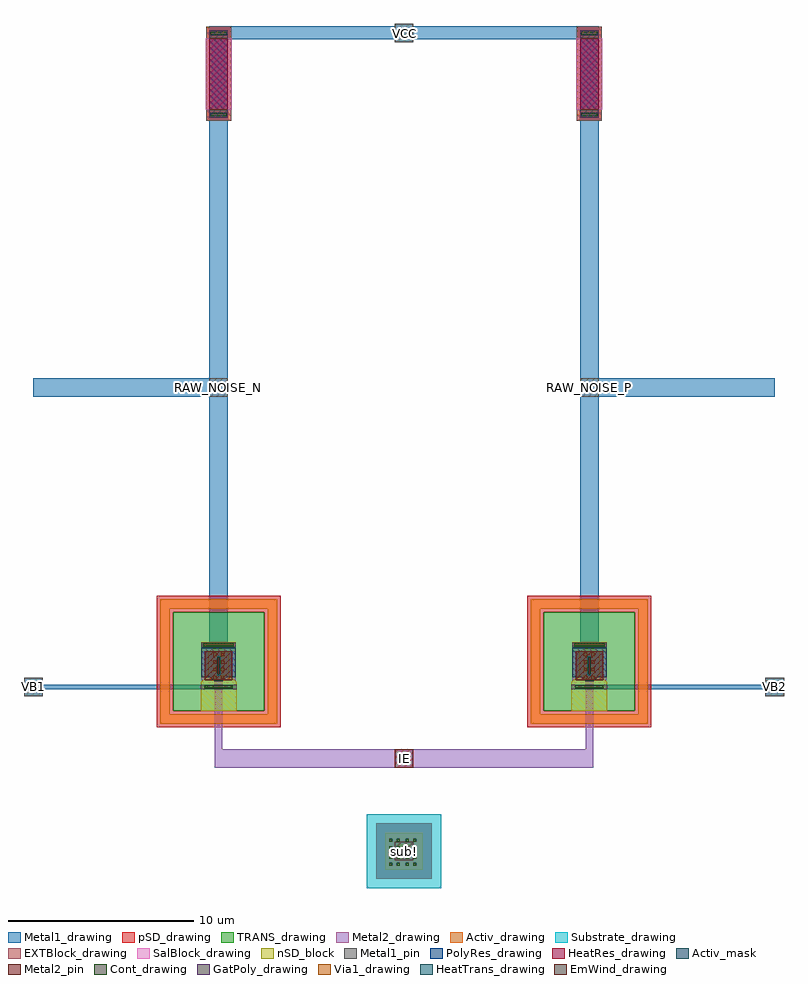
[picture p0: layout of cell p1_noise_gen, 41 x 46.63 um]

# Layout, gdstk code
import gdstk
lib = gdstk.Library(unit=1e-6, precision=1e-09)
def R(c, l, rs):  # rectangles x0, y0, x1, y1
    for r in rs: c.add(gdstk.rectangle(r[:2], r[2:], *l))
def A(c, l, x, y, w, h, nx, ny, dx, dy):  # array of equal rectangles
    R(c, l, [(x+i*dx, y+j*dy, x+i*dx+w, y+j*dy+h) for i in range(nx) for j in range(ny)])
def P(c, l, *ps):  # polygons
    for p in ps: c.add(gdstk.Polygon(p, *l))
Activ_drawing = (1, 0)
Activ_mask = (1, 20)
GatPoly_drawing = (5, 0)
Cont_drawing = (6, 0)
nSD_block = (7, 21)
Metal1_drawing = (8, 0)
Metal1_pin = (8, 2)
Metal2_drawing = (10, 0)
Metal2_pin = (10, 2)
pSD_drawing = (14, 0)
Via1_drawing = (19, 0)
TRANS_drawing = (26, 0)
SalBlock_drawing = (28, 0)
EmWind_drawing = (33, 0)
Substrate_drawing = (40, 0)
HeatTrans_drawing = (51, 0)
HeatRes_drawing = (52, 0)
EXTBlock_drawing = (111, 0)
PolyRes_drawing = (128, 0)

npn13g2 = lib.new_cell('npn13G2')
R(npn13g2, Activ_drawing, [(-0.925,0.98,0.925,1.28)])
P(npn13g2, Activ_drawing, [(-3.15,-3.13),(-3.15,3.58),(2.65,3.58),(2.65,3.08),(-2.65,3.08),(-2.65,-2.63),(2.65,-2.63),(2.65,3.58),(3.15,3.58),(3.15,-3.13)])
P(npn13g2, Activ_mask, [(-0.235,-0.83),(-0.445,-0.62),(-0.925,-0.62),(-0.925,0.98),(0.925,0.98),(0.925,-0.62),(0.445,-0.62),(0.235,-0.83)])
R(npn13g2, Cont_drawing, [(-0.76,-1.22,0.76,-1.06), (-0.825,1.05,0.825,1.21)])
P(npn13g2, nSD_block, [(-0.975,-2.43),(-0.975,-0.9),(-0.555,-0.48),(-0.555,0.69),(-0.305,0.94),(0.305,0.94),(0.555,0.69),(0.555,-0.48),(0.975,-0.9),(0.975,-2.43)])
R(npn13g2, Metal1_drawing, [(-0.975,-1.26,0.975,-1.02), (-0.35,-0.785,0.35,0.77), (-0.925,1.01,0.925,1.25)])
R(npn13g2, Metal1_pin, [(-0.975,-1.26,0.975,-1.02), (-0.925,1.01,0.925,1.25)])
R(npn13g2, Metal2_drawing, [(-0.925,-0.785,0.925,0.77)])
R(npn13g2, Metal2_pin, [(-0.745,-0.785,0.745,0.77)])
P(npn13g2, pSD_drawing, [(-3.35,-3.33),(-3.35,3.78),(2.45,3.78),(2.45,2.88),(-2.45,2.88),(-2.45,-2.43),(2.45,-2.43),(2.45,3.78),(3.35,3.78),(3.35,-3.33)])
A(npn13g2, Via1_drawing, -0.3, -0.72, 0.19, 0.19, 1, 4, 0, 0.41)
A(npn13g2, Via1_drawing, 0.11, -0.72, 0.19, 0.19, 1, 4, 0, 0.41)
R(npn13g2, TRANS_drawing, [(-2.45,-2.43,2.45,2.88)])
R(npn13g2, EmWind_drawing, [(-0.035,-0.45,0.035,0.45)])
R(npn13g2, HeatTrans_drawing, [(-0.085,-0.5,0.085,0.5)])
npn13g2.add(gdstk.Label('npn13G2', (0,0), layer=51, texttype=0))
npn13g2.add(gdstk.Label('npn13G2', (0.015,2.31), layer=63, texttype=0))
npn13g2.add(gdstk.Label('C', (0,1.13), layer=63, texttype=0))
npn13g2.add(gdstk.Label('B', (0,-1.14), layer=63, texttype=0))
npn13g2.add(gdstk.Label('E', (0,-0.007), layer=63, texttype=0))
npn13g2.add(gdstk.Label('Ae=1*1*0.07*0.90', (-1.977,-2.546), layer=63, texttype=0))

rppd = lib.new_cell('rppd')
R(rppd, GatPoly_drawing, [(0,-0.43,1,-0.2), (0,-0.2,1,0), (0,3.85,1,4.05), (0,4.05,1,4.28)])
R(rppd, Cont_drawing, [(0.07,-0.36,0.93,-0.2), (0.07,4.05,0.93,4.21)])
R(rppd, Metal1_drawing, [(0.02,-0.43,0.98,-0.13), (0.02,3.98,0.98,4.28)])
R(rppd, Metal1_pin, [(0.02,-0.43,0.98,-0.13), (0.02,3.98,0.98,4.28)])
R(rppd, pSD_drawing, [(-0.18,-0.61,1.18,0), (-0.18,0,1.18,3.85), (-0.18,3.85,1.18,4.46)])
R(rppd, SalBlock_drawing, [(-0.2,0,1.2,3.85)])
R(rppd, HeatRes_drawing, [(0,0,1,3.85)])
R(rppd, EXTBlock_drawing, [(-0.18,-0.61,1.18,0), (-0.2,0,1.2,3.85), (-0.18,3.85,1.18,4.46)])
R(rppd, PolyRes_drawing, [(0,0,1,3.85)])
rppd.add(gdstk.Label('rppd r=1065.030', (0.5,1.925), layer=63, texttype=0))
rppd.add(gdstk.Label('rppd', (0.5,1.925), layer=52, texttype=0))

p1_noise_gen = lib.new_cell('p1_noise_gen')
R(p1_noise_gen, Activ_drawing, [(29,9,31,11)])
R(p1_noise_gen, Cont_drawing, [(29.2,9.2,29.36,9.36), (29.6,9.2,29.76,9.36), (30.1,9.2,30.26,9.36), (30.5,9.2,30.66,9.36), (29.2,9.6,29.36,9.76), (29.6,9.6,29.76,9.76), (30.1,9.6,30.26,9.76), (30.5,9.6,30.66,9.76), (29.2,10.1,29.36,10.26), (29.6,10.1,29.76,10.26), (30.1,10.1,30.26,10.26), (30.5,10.1,30.66,10.26), (29.2,10.5,29.36,10.66), (29.6,10.5,29.76,10.66), (30.1,10.5,30.26,10.66), (30.5,10.5,30.66,10.66)])
R(p1_noise_gen, Metal1_drawing, [(28.5,8.5,31.5,11.5), (29.5,9.5,30.5,10.5), (9.5,18.36,10.5,19.36), (49.5,18.36,50.5,19.36), (10,18.74,20.975,18.98), (39.025,18.74,50,18.98), (19.5,21.01,20.5,49.72), (39.5,21.01,40.5,49.72), (10,34.5,20.5,35.5), (19.5,34.5,20.5,35.5), (39.5,34.5,50,35.5), (39.5,34.5,40.5,35.5), (29.5,53.63,30.5,54.63), (19.5,53.8,40.5,54.5)])
R(p1_noise_gen, Metal1_pin, [(29.5,9.5,30.5,10.5), (9.5,18.36,10.5,19.36), (49.5,18.36,50.5,19.36), (19.5,34.5,20.5,35.5), (39.5,34.5,40.5,35.5), (29.5,53.63,30.5,54.63)])
R(p1_noise_gen, Metal2_drawing, [(19.8,14.5,40.2,15.5), (29.5,14.5,30.5,15.5), (19.8,15,20.2,20.77), (39.8,15,40.2,20.77)])
R(p1_noise_gen, Metal2_pin, [(29.5,14.5,30.5,15.5)])
R(p1_noise_gen, pSD_drawing, [(28.5,8.5,31.5,11.5)])
R(p1_noise_gen, Substrate_drawing, [(28,8,32,12)])
p1_noise_gen.add(gdstk.Reference(npn13g2, (20,20)))
p1_noise_gen.add(gdstk.Reference(npn13g2, (40,20)))
p1_noise_gen.add(gdstk.Reference(rppd, (19.5,50)))
p1_noise_gen.add(gdstk.Reference(rppd, (39.5,50)))
p1_noise_gen.add(gdstk.Label('sub!', (30,10), layer=63, texttype=0))
p1_noise_gen.add(gdstk.Label('RAW_NOISE_N', (20,35), layer=63, texttype=0))
p1_noise_gen.add(gdstk.Label('RAW_NOISE_P', (40,35), layer=63, texttype=0))
p1_noise_gen.add(gdstk.Label('VCC', (30,54.13), layer=63, texttype=0))
p1_noise_gen.add(gdstk.Label('VSS', (30,10), layer=63, texttype=0))
p1_noise_gen.add(gdstk.Label('VB1', (10,18.86), layer=63, texttype=0))
p1_noise_gen.add(gdstk.Label('VB2', (50,18.86), layer=63, texttype=0))
p1_noise_gen.add(gdstk.Label('IE', (30,15), layer=63, texttype=0))
p1_noise_gen.add(gdstk.Label('RAW_NOISE_N', (20,35), layer=8, texttype=25))
p1_noise_gen.add(gdstk.Label('RAW_NOISE_P', (40,35), layer=8, texttype=25))
p1_noise_gen.add(gdstk.Label('VCC', (30,54.13), layer=8, texttype=25))
p1_noise_gen.add(gdstk.Label('VSS', (30,10), layer=8, texttype=25))
p1_noise_gen.add(gdstk.Label('VB1', (10,18.86), layer=8, texttype=25))
p1_noise_gen.add(gdstk.Label('VB2', (50,18.86), layer=8, texttype=25))
p1_noise_gen.add(gdstk.Label('IE', (30,15), layer=10, texttype=25))

lib.write_gds('p1_noise_gen.gds')
